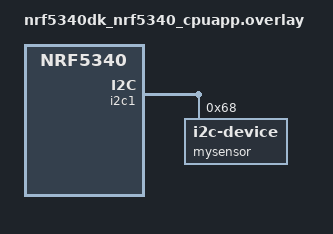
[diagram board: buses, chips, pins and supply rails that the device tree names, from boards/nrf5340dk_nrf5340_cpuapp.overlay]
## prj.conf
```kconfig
#
# Copyright (c) 2016 Intel Corporation
#
# SPDX-License-Identifier: Apache-2.0
#

# STEP 2 - Enable the I2C driver
CONFIG_I2C=y
# STEP 4.2 - Enable floating point format specifiers
CONFIG_CBPRINTF_FP_SUPPORT=y
CONFIG_UART_RTT=y
CONFIG_RTT_CONSOLE=y

CONFIG_PRINTK=y
CONFIG_UART_CONSOLE=n
CONFIG_USE_SEGGER_RTT=y
```

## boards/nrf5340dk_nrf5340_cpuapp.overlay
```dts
// To get started, press Ctrl+Space to bring up the completion menu and view the available nodes.
// For more help, browse the DeviceTree documentation at https://docs.zephyrproject.org/latest/guides/dts/index.html

&i2c1 {
    compatible = "nordic,nrf-twim";
	status = "okay";

	pinctrl-0 = <&i2c1_default>;
	pinctrl-1 = <&i2c1_sleep>;
	pinctrl-names = "default", "sleep";

    mysensor: mysensor@68{
        compatible = "i2c-device";
        status = "okay";
        reg = < 0x68 >;
    };
};
```

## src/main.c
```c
/*
 * Copyright (c) 2016 Intel Corporation
 *
 * SPDX-License-Identifier: Apache-2.0
 */

#include <zephyr/kernel.h>
#include <zephyr/device.h>
#include <zephyr/devicetree.h>
/* STEP 3 - Include the header file of the I2C API */
#include <zephyr/drivers/i2c.h>
/* STEP 4.1 - Include the header file of printk() */
#include <zephyr/sys/printk.h>


/* 1000 msec = 1 sec */
#define SLEEP_TIME_MS   1000

/* STEP 8 - Define the I2C slave device address and the addresses of relevant registers */
#define SECOND_REG            0x00
#define MINUTE_REG            0x01
#define	HOUR_REG			  0x02
#define	DAY_OF_WEEK_REG		  0x03
#define DATE_REG			  0x04
#define	MONTH_REG			  0x05
#define YEAR_REG			  0x06

/* STEP 6 - Get the node identifier of the sensor */
#define I2C_NODE DT_NODELABEL(mysensor)

static const struct i2c_dt_spec dev_i2c = I2C_DT_SPEC_GET(I2C_NODE);

uint8_t decimal_to_bcd(uint8_t decimal) {
    return ((decimal / 10) << 4) | (decimal % 10);
}

uint8_t bcd_to_decimal(uint8_t bcd) {
    return ((bcd >> 4) * 10) + (bcd & 0x0F);
}
/*
setting Date Time setting formate is as follows
Seconds 00–59
Minutes 00–59
Hours   00-23
Day 1–7
Date 01–31
Month 01–12
Year 00–99
*/
void set_date_time(uint8_t * dateTime)
{
	int ret;
    // Convert decimal values to BCD before writing to the DS3231
    uint8_t bcdDateTime[7];
    for (int i = 0; i < 7; i++) {
        bcdDateTime[i] = decimal_to_bcd(dateTime[i]);
    }

    // Set the date and time
    uint8_t regAddresses[7] = {SECOND_REG, MINUTE_REG, HOUR_REG, DAY_OF_WEEK_REG, DATE_REG, MONTH_REG, YEAR_REG};
    for (int i = 0; i < 7; i++) {
        uint8_t data[2] = {regAddresses[i], bcdDateTime[i]};	// first byte of data is reg address and second is data
        ret = i2c_write_dt(&dev_i2c, data, sizeof(data));
        if (ret != 0) {
            printk("Failed to write to I2C device address %x at Reg. %x \n", dev_i2c.addr, data[0]);
            return;
        }
    }
}

void get_date_time(uint8_t *dateTime) {
    
	int ret;

    uint8_t regAddresses[7] = {SECOND_REG, MINUTE_REG, HOUR_REG, DAY_OF_WEEK_REG, DATE_REG, MONTH_REG, YEAR_REG};
    for (int i = 0; i < 7; i++) {
        ret = i2c_write_read_dt(&dev_i2c, &regAddresses[i], 1, &dateTime[i], 1);
        if (ret != 0) {
            printk("Failed to write/read I2C device address %x at Reg. %x \r\n", dev_i2c.addr, regAddresses[i]);
            return;
        }
    }

    // Convert BCD values to decimal after reading from the DS3231
    for (int i = 0; i < 7; i++) {
        dateTime[i] = bcd_to_decimal(dateTime[i]);
    }
}

void main(void)
{

	int ret;

/* STEP 7 - Retrieve the API-specific device structure and make sure that the device is ready to use  */
	if (!device_is_ready(dev_i2c.bus)) {
		printk("I2C bus %s is not ready!\n\r",dev_i2c.bus->name);
		return;
	}

/* set date and time */
/*
setting Date Time setting formate is as follows
Seconds 00–59
Minutes 00–59
Hours   00-23
Day 1–7
Date 01–31
Month 01–12
Year 00–99
*/
	uint8_t setDateTime[7] = {0};
/*Testing each reg rollover by setting midnight 31 dec*/
	setDateTime[0] = 00;
	setDateTime[1] = 59;
	setDateTime[2] = 23;
	setDateTime[3] = 7;
	setDateTime[4] = 31;
	setDateTime[5] = 12;
	setDateTime[6] = 23;

/*Testing leap year - works fine
	setDateTime[0] = 00;
	setDateTime[1] = 59;
	setDateTime[2] = 23;
	setDateTime[3] = 7;
	setDateTime[4] = 28;
	setDateTime[5] = 02;
	setDateTime[6] = 23;
	*/
/*	setDateTime[0] = 00;
	setDateTime[1] = 37;
	setDateTime[2] = 22;
	setDateTime[3] = 7;
	setDateTime[4] = 03;
	setDateTime[5] = 12;
	setDateTime[6] = 23;
	*/
	
	set_date_time(setDateTime);

	while (1) {
/* read back date and time after one  */
		uint8_t currentDateTime[7] = {0};

		get_date_time(currentDateTime);
		        // Print the current date and time in one row with ":" separation
        printk("%02d:%02d:%02d %02d/%02d/%02d\n",
               currentDateTime[2], currentDateTime[1], currentDateTime[0],
               currentDateTime[4], currentDateTime[5], currentDateTime[6]);

		k_msleep(SLEEP_TIME_MS);
	}
}
```
